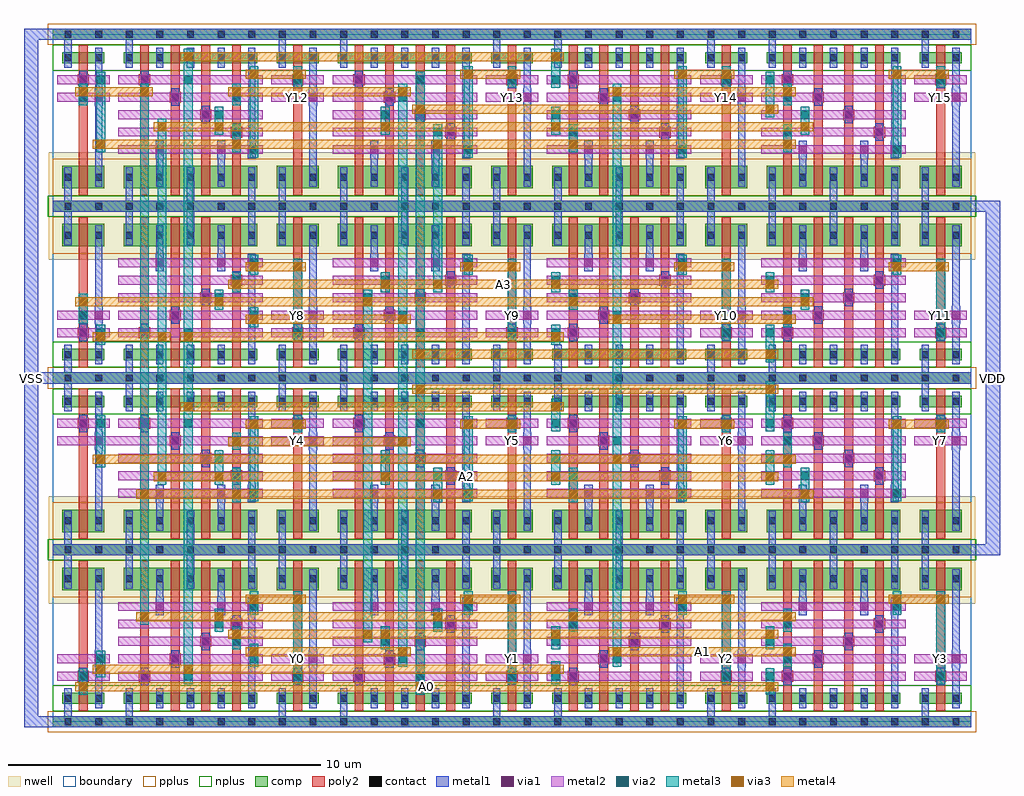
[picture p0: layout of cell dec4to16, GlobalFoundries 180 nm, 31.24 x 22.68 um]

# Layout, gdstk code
import gdstk
lib = gdstk.Library(unit=1e-6, precision=1e-09)
def R(c, l, rs):  # rectangles x0, y0, x1, y1
    for r in rs: c.add(gdstk.rectangle(r[:2], r[2:], *l))
def A(c, l, x, y, w, h, nx, ny, dx, dy):  # array of equal rectangles
    R(c, l, [(x+i*dx, y+j*dy, x+i*dx+w, y+j*dy+h) for i in range(nx) for j in range(ny)])
boundary = (0, 0)
nwell = (21, 0)
comp = (22, 0)
poly2 = (30, 0)
pplus = (31, 0)
nplus = (32, 0)
contact = (33, 0)
metal1 = (34, 0)
via1 = (35, 0)
metal2 = (36, 0)
via2 = (38, 0)
via3 = (40, 0)
metal3 = (42, 0)
metal4 = (46, 0)

inv = lib.new_cell('inv')
R(inv, boundary, [(0,0,1.96,5.5)])
R(inv, nwell, [(-0.12,3.78,2.08,5.8)])
R(inv, comp, [(0,-0.18,1.96,0.18), (0.31,0.57,1.65,0.93), (0.31,4.21,1.65,4.93), (0,5.32,1.96,5.68)])
R(inv, poly2, [(0.84,0.35,1.12,1.15), (0.84,1.15,1.12,3.99), (0.8,1.27,1.16,1.63), (0.84,3.99,1.12,5.15)])
R(inv, pplus, [(-0.16,-0.34,2.12,0.34), (0,3.98,1.96,5.16)])
R(inv, nplus, [(0,0.34,1.96,1.16), (-0.16,5.16,2.12,5.84)])
R(inv, contact, [(0.38,-0.11,0.6,0.11), (1.36,-0.11,1.58,0.11), (0.38,0.64,0.6,0.86), (1.36,0.64,1.58,0.86), (0.87,1.34,1.09,1.56), (0.38,4.46,0.6,4.68), (1.36,4.46,1.58,4.68), (0.38,5.39,0.6,5.61), (1.36,5.39,1.58,5.61)])
R(inv, metal1, [(0,-0.18,1.96,0.18), (0.375,0,0.605,0.435), (0.375,0.435,0.605,1.065), (1.355,0.435,1.585,1.065), (1.355,1.065,1.585,2.01), (0.85,1.17,1.11,1.73), (1.34,1.73,1.6,2.29), (1.34,1.73,1.6,2.29), (1.355,2.01,1.585,4.255), (0.375,4.255,0.605,4.885), (1.355,4.255,1.585,4.885), (0.375,4.885,0.605,5.5), (0,5.32,1.96,5.68)])
R(inv, via1, [(0.85,1.32,1.11,1.58), (1.34,1.88,1.6,2.14), (1.34,1.88,1.6,2.14)])
R(inv, metal2, [(0.14,1.31,1.82,1.59), (0.72,1.31,1.24,1.59), (0.14,1.87,1.82,2.15), (1.21,1.87,1.73,2.15), (1.21,1.87,1.73,2.15)])
inv.add(gdstk.Label('VSS', (0.98,0), layer=34, texttype=10))
inv.add(gdstk.Label('VDD', (0.98,5.5), layer=34, texttype=10))
inv.add(gdstk.Label('Y', (0.98,2.01), layer=36, texttype=10))
inv.add(gdstk.Label('A', (0.98,1.45), layer=36, texttype=10))

nand4 = lib.new_cell('nand4')
R(nand4, boundary, [(0,0,4.9,5.5)])
R(nand4, nwell, [(-0.12,3.78,5.02,5.8)])
R(nand4, comp, [(0,-0.18,4.9,0.18), (0.31,0.57,4.59,0.93), (0.31,4.21,4.59,4.93), (0,5.32,4.9,5.68)])
A(nand4, poly2, 0.84, 0.35, 0.28, 0.8, 4, 1, 0.98, 0)
A(nand4, poly2, 0.84, 1.15, 0.28, 2.84, 4, 1, 0.98, 0)
A(nand4, poly2, 0.84, 3.99, 0.28, 1.16, 4, 1, 0.98, 0)
R(nand4, poly2, [(0.8,1.27,1.16,1.63), (1.78,1.83,2.14,2.19), (2.76,2.39,3.12,2.75), (3.74,2.95,4.1,3.31)])
R(nand4, pplus, [(-0.16,-0.34,5.06,0.34), (0,3.98,4.9,5.16)])
R(nand4, nplus, [(0,0.34,4.9,1.16), (-0.16,5.16,5.06,5.84)])
A(nand4, contact, 0.38, -0.11, 0.22, 0.22, 5, 2, 0.98, 0.75)
A(nand4, contact, 0.38, 4.46, 0.22, 0.22, 5, 2, 0.98, 0.93)
R(nand4, contact, [(0.87,1.34,1.09,1.56), (1.85,1.9,2.07,2.12), (2.83,2.46,3.05,2.68), (3.81,3.02,4.03,3.24)])
A(nand4, metal1, 0.375, 0.435, 0.23, 0.63, 5, 2, 0.98, 3.82)
A(nand4, metal1, 0.375, 4.885, 0.23, 0.615, 3, 1, 1.96, 0)
R(nand4, metal1, [(0,-0.18,4.9,0.18), (0.375,0,0.605,0.435), (4.295,1.065,4.525,3.69), (0.85,1.17,1.11,1.73), (1.83,1.73,2.09,2.29), (2.81,2.29,3.07,2.85), (3.79,2.85,4.05,3.41), (1.34,3.41,1.6,3.97), (3.3,3.41,3.56,3.97), (4.28,3.41,4.54,3.97), (1.355,3.69,1.585,4.255), (3.315,3.69,3.545,4.255), (0,5.32,4.9,5.68)])
R(nand4, via1, [(0.85,1.32,1.11,1.58), (1.83,1.88,2.09,2.14), (2.81,2.44,3.07,2.7), (3.79,3,4.05,3.26), (1.34,3.56,1.6,3.82), (3.3,3.56,3.56,3.82), (4.28,3.56,4.54,3.82)])
A(nand4, metal2, 0.14, 1.31, 4.62, 0.28, 1, 5, 0, 0.56)
R(nand4, metal2, [(0.72,1.31,1.24,1.59), (1.7,1.87,2.22,2.15), (2.68,2.43,3.2,2.71), (3.66,2.99,4.18,3.27), (1.21,3.55,1.73,3.83), (3.17,3.55,3.69,3.83), (4.15,3.55,4.67,3.83)])
nand4.add(gdstk.Label('VSS', (2.45,0), layer=34, texttype=10))
nand4.add(gdstk.Label('VDD', (2.45,5.5), layer=34, texttype=10))
nand4.add(gdstk.Label('Y', (2.45,3.69), layer=36, texttype=10))
nand4.add(gdstk.Label('A', (2.45,1.45), layer=36, texttype=10))
nand4.add(gdstk.Label('B', (2.45,2.01), layer=36, texttype=10))
nand4.add(gdstk.Label('C', (2.45,2.57), layer=36, texttype=10))
nand4.add(gdstk.Label('D', (2.45,3.13), layer=36, texttype=10))

dec4to16 = lib.new_cell('dec4to16')
A(dec4to16, metal1, -0.92, -0.18, 0.92, 0.36, 1, 3, 0, 11)
R(dec4to16, metal1, [(-0.92,-0.18,-0.46,22.18), (29.4,5.32,30.32,5.68), (29.86,5.32,30.32,16.68), (29.4,16.32,30.32,16.68)])
A(dec4to16, metal2, 6.18, 3.55, 0.52, 0.28, 4, 2, 6.86, 3.62)
A(dec4to16, metal2, 6.18, 14.55, 0.52, 0.28, 4, 2, 6.86, 3.62)
R(dec4to16, metal2, [(0.72,1.31,1.24,1.59), (4.08,1.31,4.6,1.59), (7.58,1.31,8.1,1.59), (11.5,1.31,12.02,1.59), (14.44,1.31,14.96,1.59), (15.84,1.31,16.36,1.59), (21.3,1.31,21.82,1.59), (22.7,1.31,23.22,1.59), (28.16,1.31,28.68,1.59), (1.28,1.87,1.8,2.15), (6.18,1.87,6.7,2.15), (10.94,1.87,11.46,2.15), (17.8,1.87,18.32,2.15), (23.26,1.87,23.78,2.15), (5.62,2.43,6.14,2.71), (10.38,2.43,10.9,2.71), (15.84,2.43,16.36,2.71), (22.7,2.43,23.22,2.71), (5.06,2.99,5.58,3.27), (12.06,2.99,12.58,3.27), (16.4,2.99,16.92,3.27), (23.26,2.99,23.78,3.27), (5.62,7.73,6.14,8.01), (12.06,7.73,12.58,8.01), (16.4,7.73,16.92,8.01), (23.82,7.73,24.34,8.01), (5.06,8.29,5.58,8.57), (10.38,8.29,10.9,8.57), (15.84,8.29,16.36,8.57), (22.7,8.29,23.22,8.57), (1.82,8.85,2.1,9.13), (5.62,8.85,6.14,9.13), (10.94,8.85,11.46,9.13), (17.8,8.85,18.32,9.13), (23.26,8.85,23.78,9.13), (1.28,9.41,1.8,9.69), (4.08,9.41,4.6,9.69), (7.58,9.41,8.1,9.69), (11.5,9.41,12.02,9.69), (14.44,9.41,14.96,9.69), (15.84,9.41,16.36,9.69), (21.3,9.41,21.82,9.69), (22.7,9.41,23.22,9.69), (28.16,9.41,28.68,9.69), (1.28,12.31,1.8,12.59), (4.08,12.31,4.6,12.59), (7.58,12.31,8.1,12.59), (11.5,12.31,12.02,12.59), (14.44,12.31,14.96,12.59), (15.84,12.31,16.36,12.59), (21.3,12.31,21.82,12.59), (22.7,12.31,23.22,12.59), (28.16,12.31,28.68,12.59), (0.72,12.87,1.24,13.15), (6.18,12.87,6.7,13.15), (10.94,12.87,11.46,13.15), (17.8,12.87,18.32,13.15), (23.26,12.87,23.78,13.15), (5.06,13.43,5.58,13.71), (9.82,13.43,10.34,13.71), (16.4,13.43,16.92,13.71), (23.82,13.43,24.34,13.71), (5.62,13.99,6.14,14.27), (10.38,13.99,10.9,14.27), (15.84,13.99,16.36,14.27), (22.7,13.99,23.22,14.27), (5.62,18.73,6.14,19.01), (12.06,18.73,12.58,19.01), (16.4,18.73,16.92,19.01), (23.26,18.73,23.78,19.01), (5.06,19.29,5.58,19.57), (10.38,19.29,10.9,19.57), (15.84,19.29,16.36,19.57), (23.82,19.29,24.34,19.57), (0.72,19.85,1.24,20.13), (5.62,19.85,6.14,20.13), (10.94,19.85,11.46,20.13), (17.8,19.85,18.32,20.13), (23.26,19.85,23.78,20.13), (1.28,20.41,1.8,20.69), (4.08,20.41,4.6,20.69), (7.58,20.41,8.1,20.69), (11.5,20.41,12.02,20.69), (14.44,20.41,14.96,20.69), (15.84,20.41,16.36,20.69), (21.3,20.41,21.82,20.69), (22.7,20.41,23.22,20.69), (28.16,20.41,28.68,20.69)])
A(dec4to16, via2, 6.31, 3.56, 0.26, 0.26, 4, 2, 6.86, 3.62)
A(dec4to16, via2, 6.31, 14.56, 0.26, 0.26, 4, 2, 6.86, 3.62)
R(dec4to16, via2, [(0.85,1.32,1.11,1.58), (4.21,1.32,4.47,1.58), (7.71,1.32,7.97,1.58), (11.63,1.32,11.89,1.58), (14.57,1.32,14.83,1.58), (15.97,1.32,16.23,1.58), (21.43,1.32,21.69,1.58), (22.83,1.32,23.09,1.58), (28.29,1.32,28.55,1.58), (1.41,1.88,1.67,2.14), (6.31,1.88,6.57,2.14), (11.07,1.88,11.33,2.14), (17.93,1.88,18.19,2.14), (23.39,1.88,23.65,2.14), (5.75,2.44,6.01,2.7), (10.51,2.44,10.77,2.7), (15.97,2.44,16.23,2.7), (22.83,2.44,23.09,2.7), (5.19,3,5.45,3.26), (12.19,3,12.45,3.26), (16.53,3,16.79,3.26), (23.39,3,23.65,3.26), (5.75,7.74,6.01,8), (12.19,7.74,12.45,8), (16.53,7.74,16.79,8), (23.95,7.74,24.21,8), (5.19,8.3,5.45,8.56), (10.51,8.3,10.77,8.56), (15.97,8.3,16.23,8.56), (22.83,8.3,23.09,8.56), (5.75,8.86,6.01,9.12), (11.07,8.86,11.33,9.12), (17.93,8.86,18.19,9.12), (23.39,8.86,23.65,9.12), (1.41,9.42,1.67,9.68), (4.21,9.42,4.47,9.68), (7.71,9.42,7.97,9.68), (11.63,9.42,11.89,9.68), (14.57,9.42,14.83,9.68), (15.97,9.42,16.23,9.68), (21.43,9.42,21.69,9.68), (22.83,9.42,23.09,9.68), (28.29,9.42,28.55,9.68), (1.41,12.32,1.67,12.58), (4.21,12.32,4.47,12.58), (7.71,12.32,7.97,12.58), (11.63,12.32,11.89,12.58), (14.57,12.32,14.83,12.58), (15.97,12.32,16.23,12.58), (21.43,12.32,21.69,12.58), (22.83,12.32,23.09,12.58), (28.29,12.32,28.55,12.58), (0.85,12.88,1.11,13.14), (6.31,12.88,6.57,13.14), (11.07,12.88,11.33,13.14), (17.93,12.88,18.19,13.14), (23.39,12.88,23.65,13.14), (5.19,13.44,5.45,13.7), (9.95,13.44,10.21,13.7), (16.53,13.44,16.79,13.7), (23.95,13.44,24.21,13.7), (5.75,14,6.01,14.26), (10.51,14,10.77,14.26), (15.97,14,16.23,14.26), (22.83,14,23.09,14.26), (5.75,18.74,6.01,19), (12.19,18.74,12.45,19), (16.53,18.74,16.79,19), (23.39,18.74,23.65,19), (5.19,19.3,5.45,19.56), (10.51,19.3,10.77,19.56), (15.97,19.3,16.23,19.56), (23.95,19.3,24.21,19.56), (0.85,19.86,1.11,20.12), (5.75,19.86,6.01,20.12), (11.07,19.86,11.33,20.12), (17.93,19.86,18.19,20.12), (23.39,19.86,23.65,20.12), (1.41,20.42,1.67,20.68), (4.21,20.42,4.47,20.68), (7.71,20.42,7.97,20.68), (11.63,20.42,11.89,20.68), (14.57,20.42,14.83,20.68), (15.97,20.42,16.23,20.68), (21.43,20.42,21.69,20.68), (22.83,20.42,23.09,20.68), (28.29,20.42,28.55,20.68)])
A(dec4to16, via3, 5.19, 7.71, 0.26, 0.26, 1, 3, 0, 5.6)
A(dec4to16, via3, 15.97, 7.71, 0.26, 0.26, 1, 3, 0, 2.24)
R(dec4to16, via3, [(0.85,0.99,1.11,1.25), (11.63,0.99,11.89,1.25), (11.63,0.99,11.89,1.25), (22.83,0.99,23.09,1.25), (1.41,1.55,1.67,1.81), (4.21,1.55,4.47,1.81), (4.21,1.55,4.47,1.81), (15.97,1.55,16.23,1.81), (6.31,2.11,6.57,2.37), (11.07,2.11,11.33,2.37), (11.07,2.11,11.33,2.37), (17.93,2.11,18.19,2.37), (17.93,2.11,18.19,2.37), (23.39,2.11,23.65,2.37), (5.75,2.67,6.01,2.93), (9.95,2.67,10.21,2.93), (10.51,2.67,10.77,2.93), (15.97,2.67,16.23,2.93), (22.83,2.67,23.09,2.93), (2.81,3.23,3.07,3.49), (5.19,3.23,5.45,3.49), (12.19,3.23,12.45,3.49), (16.53,3.23,16.79,3.49), (23.39,3.23,23.65,3.49), (6.31,3.79,6.57,4.05), (7.71,3.79,7.97,4.05), (13.17,3.79,13.43,4.05), (14.57,3.79,14.83,4.05), (20.03,3.79,20.29,4.05), (21.43,3.79,21.69,4.05), (26.89,3.79,27.15,4.05), (28.29,3.79,28.55,4.05), (2.81,7.15,3.07,7.41), (5.75,7.15,6.01,7.41), (12.19,7.15,12.45,7.41), (16.53,7.15,16.79,7.41), (23.95,7.15,24.21,7.41), (3.37,7.71,3.63,7.97), (10.51,7.71,10.77,7.97), (22.83,7.71,23.09,7.97), (1.41,8.27,1.67,8.53), (17.93,8.27,18.19,8.53), (17.93,8.27,18.19,8.53), (23.39,8.27,23.65,8.53), (5.75,8.83,6.01,9.09), (11.07,8.83,11.33,9.09), (11.07,8.83,11.33,9.09), (6.31,9.39,6.57,9.65), (7.71,9.39,7.97,9.65), (13.17,9.39,13.43,9.65), (14.57,9.39,14.83,9.65), (20.03,9.39,20.29,9.65), (21.43,9.39,21.69,9.65), (26.89,9.39,27.15,9.65), (28.29,9.39,28.55,9.65), (4.21,9.95,4.47,10.21), (4.21,9.95,4.47,10.21), (11.63,10.51,11.89,10.77), (11.63,10.51,11.89,10.77), (22.83,10.51,23.09,10.77), (11.63,11.63,11.89,11.89), (11.63,11.63,11.89,11.89), (22.83,11.63,23.09,11.89), (1.41,12.19,1.67,12.45), (3.37,12.19,3.63,12.45), (4.21,12.19,4.47,12.45), (4.21,12.19,4.47,12.45), (6.31,12.75,6.57,13.01), (11.07,12.75,11.33,13.01), (11.07,12.75,11.33,13.01), (17.93,12.75,18.19,13.01), (17.93,12.75,18.19,13.01), (23.39,12.75,23.65,13.01), (0.85,13.31,1.11,13.57), (9.95,13.31,10.21,13.57), (9.95,13.31,10.21,13.57), (16.53,13.31,16.79,13.57), (23.95,13.31,24.21,13.57), (5.75,13.87,6.01,14.13), (10.51,13.87,10.77,14.13), (12.19,13.87,12.45,14.13), (15.97,13.87,16.23,14.13), (22.83,13.87,23.09,14.13), (6.31,14.43,6.57,14.69), (7.71,14.43,7.97,14.69), (13.17,14.43,13.43,14.69), (14.57,14.43,14.83,14.69), (20.03,14.43,20.29,14.69), (21.43,14.43,21.69,14.69), (26.89,14.43,27.15,14.69), (28.29,14.43,28.55,14.69), (1.41,18.35,1.67,18.61), (5.75,18.35,6.01,18.61), (12.19,18.35,12.45,18.61), (12.19,18.35,12.45,18.61), (16.53,18.35,16.79,18.61), (23.39,18.35,23.65,18.61), (3.37,18.91,3.63,19.17), (10.51,18.91,10.77,19.17), (15.97,18.91,16.23,19.17), (23.95,18.91,24.21,19.17), (11.63,19.47,11.89,19.73), (11.63,19.47,11.89,19.73), (22.83,19.47,23.09,19.73), (0.85,20.03,1.11,20.29), (2.81,20.03,3.07,20.29), (5.75,20.03,6.01,20.29), (11.07,20.03,11.33,20.29), (11.07,20.03,11.33,20.29), (17.93,20.03,18.19,20.29), (17.93,20.03,18.19,20.29), (23.39,20.03,23.65,20.29), (6.31,20.59,6.57,20.85), (7.71,20.59,7.97,20.85), (13.17,20.59,13.43,20.85), (14.57,20.59,14.83,20.85), (20.03,20.59,20.29,20.85), (21.43,20.59,21.69,20.85), (26.89,20.59,27.15,20.85), (28.29,20.59,28.55,20.85), (4.21,21.15,4.47,21.41), (4.21,21.15,4.47,21.41), (15.97,21.15,16.23,21.41)])
A(dec4to16, metal3, 7.7, 1.45, 0.28, 2.47, 4, 1, 6.86, 0)
A(dec4to16, metal3, 6.3, 3.43, 0.28, 0.52, 4, 2, 6.86, 3.62)
A(dec4to16, metal3, 6.3, 3.69, 0.28, 0.23, 4, 1, 6.86, 0)
A(dec4to16, metal3, 6.3, 7.31, 0.28, 2.21, 4, 1, 6.86, 0)
A(dec4to16, metal3, 7.7, 9.52, 0.28, 0.03, 4, 1, 6.86, 0)
A(dec4to16, metal3, 7.7, 12.45, 0.28, 2.11, 4, 1, 6.86, 0)
A(dec4to16, metal3, 6.3, 14.43, 0.28, 0.52, 4, 2, 6.86, 3.62)
A(dec4to16, metal3, 6.3, 14.56, 0.28, 0.13, 4, 1, 6.86, 0)
A(dec4to16, metal3, 6.3, 18.31, 0.28, 2.41, 4, 1, 6.86, 0)
A(dec4to16, metal3, 7.7, 20.55, 0.28, 0.17, 4, 1, 6.86, 0)
R(dec4to16, metal3, [(0.84,0.86,1.12,1.38), (11.62,0.86,11.9,1.38), (11.62,0.86,11.9,1.38), (22.82,0.86,23.1,1.38), (0.84,1.12,1.12,1.45), (11.62,1.12,11.9,19.6), (11.62,1.12,11.9,1.45), (22.82,1.12,23.1,1.45), (0.84,1.19,1.12,1.71), (4.2,1.19,4.48,1.71), (7.7,1.19,7.98,1.71), (11.62,1.19,11.9,1.71), (14.56,1.19,14.84,1.71), (15.96,1.19,16.24,1.71), (21.42,1.19,21.7,1.71), (22.82,1.19,23.1,1.71), (28.28,1.19,28.56,1.71), (1.4,1.42,1.68,1.94), (4.2,1.42,4.48,1.94), (4.2,1.42,4.48,1.94), (15.96,1.42,16.24,1.94), (4.2,1.45,4.48,1.68), (15.96,1.45,16.24,1.68), (1.4,1.68,1.68,2.01), (4.2,1.68,4.48,21.28), (1.4,1.75,1.68,2.27), (6.3,1.75,6.58,2.27), (11.06,1.75,11.34,2.27), (17.92,1.75,18.2,2.27), (23.38,1.75,23.66,2.27), (6.3,1.98,6.58,2.5), (11.06,1.98,11.34,2.5), (11.06,1.98,11.34,2.5), (17.92,1.98,18.2,2.5), (17.92,1.98,18.2,2.5), (23.38,1.98,23.66,2.5), (6.3,2.01,6.58,2.24), (11.06,2.01,11.34,2.24), (17.92,2.01,18.2,2.24), (23.38,2.01,23.66,2.24), (11.06,2.24,11.34,20.16), (17.92,2.24,18.2,20.16), (5.74,2.31,6.02,2.83), (10.5,2.31,10.78,2.83), (15.96,2.31,16.24,2.83), (22.82,2.31,23.1,2.83), (5.74,2.54,6.02,3.06), (9.94,2.54,10.22,3.06), (10.5,2.54,10.78,3.06), (15.96,2.54,16.24,3.06), (22.82,2.54,23.1,3.06), (5.74,2.57,6.02,2.8), (10.5,2.57,10.78,2.8), (15.96,2.57,16.24,2.8), (22.82,2.57,23.1,2.8), (9.94,2.8,10.22,13.44), (5.18,2.87,5.46,3.39), (12.18,2.87,12.46,3.39), (16.52,2.87,16.8,3.39), (23.38,2.87,23.66,3.39), (2.8,3.1,3.08,3.62), (5.18,3.1,5.46,3.62), (12.18,3.1,12.46,3.62), (16.52,3.1,16.8,3.62), (23.38,3.1,23.66,3.62), (5.18,3.13,5.46,3.36), (12.18,3.13,12.46,3.36), (16.52,3.13,16.8,3.36), (23.38,3.13,23.66,3.36), (2.8,3.36,3.08,20.16), (6.3,3.66,6.58,4.18), (7.7,3.66,7.98,4.18), (13.16,3.66,13.44,4.18), (14.56,3.66,14.84,4.18), (20.02,3.66,20.3,4.18), (21.42,3.66,21.7,4.18), (26.88,3.66,27.16,4.18), (28.28,3.66,28.56,4.18), (2.8,7.02,3.08,7.54), (5.74,7.02,6.02,7.54), (12.18,7.02,12.46,7.54), (16.52,7.02,16.8,7.54), (23.94,7.02,24.22,7.54), (5.74,7.28,6.02,7.87), (12.18,7.28,12.46,7.87), (16.52,7.28,16.8,7.87), (23.94,7.28,24.22,7.87), (3.36,7.58,3.64,8.1), (5.18,7.58,5.46,8.1), (10.5,7.58,10.78,8.1), (15.96,7.58,16.24,8.1), (22.82,7.58,23.1,8.1), (5.74,7.61,6.02,8.13), (12.18,7.61,12.46,8.13), (16.52,7.61,16.8,8.13), (23.94,7.61,24.22,8.13), (3.36,7.84,3.64,19.04), (5.18,7.84,5.46,8.43), (10.5,7.84,10.78,8.43), (15.96,7.84,16.24,8.43), (22.82,7.84,23.1,8.43), (1.4,8.14,1.68,8.66), (17.92,8.14,18.2,8.66), (17.92,8.14,18.2,8.66), (23.38,8.14,23.66,8.66), (5.18,8.17,5.46,8.69), (10.5,8.17,10.78,8.69), (15.96,8.17,16.24,8.69), (22.82,8.17,23.1,8.69), (1.4,8.4,1.68,9.55), (17.92,8.4,18.2,8.99), (23.38,8.4,23.66,8.99), (5.74,8.7,6.02,9.22), (11.06,8.7,11.34,9.22), (11.06,8.7,11.34,9.22), (5.74,8.73,6.02,9.25), (11.06,8.73,11.34,9.25), (17.92,8.73,18.2,9.25), (23.38,8.73,23.66,9.25), (5.74,8.96,6.02,8.99), (11.06,8.96,11.34,8.99), (6.3,9.26,6.58,9.78), (7.7,9.26,7.98,9.78), (13.16,9.26,13.44,9.78), (14.56,9.26,14.84,9.78), (20.02,9.26,20.3,9.78), (21.42,9.26,21.7,9.78), (26.88,9.26,27.16,9.78), (28.28,9.26,28.56,9.78), (1.4,9.29,1.68,9.81), (4.2,9.29,4.48,9.81), (7.7,9.29,7.98,9.81), (11.62,9.29,11.9,9.81), (14.56,9.29,14.84,9.81), (15.96,9.29,16.24,9.81), (21.42,9.29,21.7,9.81), (22.82,9.29,23.1,9.81), (28.28,9.29,28.56,9.81), (4.2,9.55,4.48,10.08), (11.62,9.55,11.9,10.64), (15.96,9.55,16.24,10.08), (22.82,9.55,23.1,10.64), (4.2,9.82,4.48,10.34), (4.2,9.82,4.48,10.34), (15.96,9.82,16.24,10.34), (11.62,10.38,11.9,10.9), (11.62,10.38,11.9,10.9), (22.82,10.38,23.1,10.9), (11.62,11.5,11.9,12.02), (11.62,11.5,11.9,12.02), (22.82,11.5,23.1,12.02), (11.62,11.76,11.9,12.45), (22.82,11.76,23.1,12.45), (1.4,12.06,1.68,12.58), (3.36,12.06,3.64,12.58), (4.2,12.06,4.48,12.58), (4.2,12.06,4.48,12.58), (15.96,12.06,16.24,12.58), (1.4,12.19,1.68,12.71), (4.2,12.19,4.48,12.71), (7.7,12.19,7.98,12.71), (11.62,12.19,11.9,12.71), (14.56,12.19,14.84,12.71), (15.96,12.19,16.24,12.71), (21.42,12.19,21.7,12.71), (22.82,12.19,23.1,12.71), (28.28,12.19,28.56,12.71), (1.4,12.32,1.68,12.45), (4.2,12.32,4.48,12.45), (15.96,12.32,16.24,12.45), (6.3,12.62,6.58,13.14), (11.06,12.62,11.34,13.14), (11.06,12.62,11.34,13.14), (17.92,12.62,18.2,13.14), (17.92,12.62,18.2,13.14), (23.38,12.62,23.66,13.14), (0.84,12.75,1.12,13.27), (6.3,12.75,6.58,13.27), (11.06,12.75,11.34,13.27), (17.92,12.75,18.2,13.27), (23.38,12.75,23.66,13.27), (6.3,12.88,6.58,13.01), (11.06,12.88,11.34,13.01), (17.92,12.88,18.2,13.01), (23.38,12.88,23.66,13.01), (0.84,13.01,1.12,13.44), (0.84,13.18,1.12,13.7), (5.18,13.18,5.46,13.7), (9.94,13.18,10.22,13.7), (9.94,13.18,10.22,13.7), (16.52,13.18,16.8,13.7), (23.94,13.18,24.22,13.7), (5.18,13.31,5.46,13.83), (9.94,13.31,10.22,13.83), (16.52,13.31,16.8,13.83), (23.94,13.31,24.22,13.83), (5.18,13.44,5.46,13.57), (9.94,13.44,10.22,13.57), (16.52,13.44,16.8,13.57), (23.94,13.44,24.22,13.57), (5.74,13.74,6.02,14.26), (10.5,13.74,10.78,14.26), (12.18,13.74,12.46,14.26), (15.96,13.74,16.24,14.26), (22.82,13.74,23.1,14.26), (5.74,13.87,6.02,14.39), (10.5,13.87,10.78,14.39), (15.96,13.87,16.24,14.39), (22.82,13.87,23.1,14.39), (5.74,14,6.02,14.13), (10.5,14,10.78,14.13), (12.18,14,12.46,18.48), (15.96,14,16.24,14.13), (22.82,14,23.1,14.13), (6.3,14.3,6.58,14.82), (7.7,14.3,7.98,14.82), (13.16,14.3,13.44,14.82), (14.56,14.3,14.84,14.82), (20.02,14.3,20.3,14.82), (21.42,14.3,21.7,14.82), (26.88,14.3,27.16,14.82), (28.28,14.3,28.56,14.82), (1.4,18.22,1.68,18.74), (5.74,18.22,6.02,18.74), (12.18,18.22,12.46,18.74), (12.18,18.22,12.46,18.74), (16.52,18.22,16.8,18.74), (23.38,18.22,23.66,18.74), (1.4,18.48,1.68,20.55), (5.74,18.48,6.02,18.87), (12.18,18.48,12.46,18.87), (16.52,18.48,16.8,18.87), (23.38,18.48,23.66,18.87), (5.74,18.61,6.02,19.13), (12.18,18.61,12.46,19.13), (16.52,18.61,16.8,19.13), (23.38,18.61,23.66,19.13), (3.36,18.78,3.64,19.3), (5.18,18.78,5.46,19.3), (10.5,18.78,10.78,19.3), (15.96,18.78,16.24,19.3), (23.94,18.78,24.22,19.3), (5.18,19.04,5.46,19.43), (10.5,19.04,10.78,19.43), (15.96,19.04,16.24,19.43), (23.94,19.04,24.22,19.43), (5.18,19.17,5.46,19.69), (10.5,19.17,10.78,19.69), (15.96,19.17,16.24,19.69), (23.94,19.17,24.22,19.69), (11.62,19.34,11.9,19.86), (11.62,19.34,11.9,19.86), (22.82,19.34,23.1,19.86), (11.62,19.6,11.9,20.55), (22.82,19.6,23.1,20.55), (0.84,19.73,1.12,20.25), (5.74,19.73,6.02,20.25), (11.06,19.73,11.34,20.25), (17.92,19.73,18.2,20.25), (23.38,19.73,23.66,20.25), (0.84,19.9,1.12,20.42), (2.8,19.9,3.08,20.42), (5.74,19.9,6.02,20.42), (11.06,19.9,11.34,20.42), (11.06,19.9,11.34,20.42), (17.92,19.9,18.2,20.42), (17.92,19.9,18.2,20.42), (23.38,19.9,23.66,20.42), (0.84,19.99,1.12,20.16), (5.74,19.99,6.02,20.16), (11.06,19.99,11.34,20.16), (17.92,19.99,18.2,20.16), (23.38,19.99,23.66,20.16), (1.4,20.29,1.68,20.81), (4.2,20.29,4.48,20.81), (7.7,20.29,7.98,20.81), (11.62,20.29,11.9,20.81), (14.56,20.29,14.84,20.81), (15.96,20.29,16.24,20.81), (21.42,20.29,21.7,20.81), (22.82,20.29,23.1,20.81), (28.28,20.29,28.56,20.81), (6.3,20.46,6.58,20.98), (7.7,20.46,7.98,20.98), (13.16,20.46,13.44,20.98), (14.56,20.46,14.84,20.98), (20.02,20.46,20.3,20.98), (21.42,20.46,21.7,20.98), (26.88,20.46,27.16,20.98), (28.28,20.46,28.56,20.98), (4.2,20.55,4.48,21.28), (15.96,20.55,16.24,21.28), (4.2,21.02,4.48,21.54), (4.2,21.02,4.48,21.54), (15.96,21.02,16.24,21.54)])
A(dec4to16, metal4, 6.44, 3.78, 1.4, 0.28, 4, 2, 6.86, 5.6)
A(dec4to16, metal4, 5.06, 7.7, 0.52, 0.28, 1, 3, 0, 5.6)
A(dec4to16, metal4, 15.84, 7.7, 0.52, 0.28, 1, 3, 0, 2.24)
A(dec4to16, metal4, 6.44, 14.42, 1.4, 0.28, 4, 2, 6.86, 6.16)
R(dec4to16, metal4, [(0.72,0.98,1.24,1.26), (0.98,0.98,22.96,1.26), (11.5,0.98,12.02,1.26), (11.5,0.98,12.02,1.26), (22.7,0.98,23.22,1.26), (1.28,1.54,1.8,1.82), (1.54,1.54,16.1,1.82), (4.08,1.54,4.6,1.82), (4.08,1.54,4.6,1.82), (15.84,1.54,16.36,1.82), (6.18,2.1,6.7,2.38), (6.44,2.1,11.2,2.38), (10.94,2.1,11.46,2.38), (10.94,2.1,11.46,2.38), (17.8,2.1,18.32,2.38), (17.8,2.1,18.32,2.38), (18.06,2.1,23.52,2.38), (23.26,2.1,23.78,2.38), (5.62,2.66,6.14,2.94), (5.88,2.66,22.96,2.94), (9.82,2.66,10.34,2.94), (10.38,2.66,10.9,2.94), (15.84,2.66,16.36,2.94), (22.7,2.66,23.22,2.94), (2.68,3.22,3.2,3.5), (2.94,3.22,23.52,3.5), (5.06,3.22,5.58,3.5), (12.06,3.22,12.58,3.5), (16.4,3.22,16.92,3.5), (23.26,3.22,23.78,3.5), (6.18,3.78,6.7,4.06), (7.58,3.78,8.1,4.06), (13.04,3.78,13.56,4.06), (14.44,3.78,14.96,4.06), (19.9,3.78,20.42,4.06), (21.3,3.78,21.82,4.06), (26.76,3.78,27.28,4.06), (28.16,3.78,28.68,4.06), (2.68,7.14,3.2,7.42), (2.94,7.14,24.08,7.42), (5.62,7.14,6.14,7.42), (12.06,7.14,12.58,7.42), (16.4,7.14,16.92,7.42), (23.82,7.14,24.34,7.42), (3.24,7.7,3.76,7.98), (3.5,7.7,22.96,7.98), (10.38,7.7,10.9,7.98), (22.7,7.7,23.22,7.98), (1.28,8.26,1.8,8.54), (1.54,8.26,23.52,8.54), (17.8,8.26,18.32,8.54), (17.8,8.26,18.32,8.54), (23.26,8.26,23.78,8.54), (5.62,8.82,6.14,9.1), (5.88,8.82,11.2,9.1), (10.94,8.82,11.46,9.1), (10.94,8.82,11.46,9.1), (6.18,9.38,6.7,9.66), (7.58,9.38,8.1,9.66), (13.04,9.38,13.56,9.66), (14.44,9.38,14.96,9.66), (19.9,9.38,20.42,9.66), (21.3,9.38,21.82,9.66), (26.76,9.38,27.28,9.66), (28.16,9.38,28.68,9.66), (4.08,9.94,4.6,10.22), (4.08,9.94,4.6,10.22), (4.34,9.94,16.1,10.22), (11.5,10.5,12.02,10.78), (11.5,10.5,12.02,10.78), (11.76,10.5,22.96,10.78), (22.7,10.5,23.22,10.78), (11.5,11.62,12.02,11.9), (11.5,11.62,12.02,11.9), (11.76,11.62,22.96,11.9), (22.7,11.62,23.22,11.9), (1.28,12.18,1.8,12.46), (1.54,12.18,3.5,12.46), (3.24,12.18,3.76,12.46), (4.08,12.18,4.6,12.46), (4.08,12.18,4.6,12.46), (4.34,12.18,16.1,12.46), (6.18,12.74,6.7,13.02), (6.44,12.74,11.2,13.02), (10.94,12.74,11.46,13.02), (10.94,12.74,11.46,13.02), (17.8,12.74,18.32,13.02), (17.8,12.74,18.32,13.02), (18.06,12.74,23.52,13.02), (23.26,12.74,23.78,13.02), (0.72,13.3,1.24,13.58), (0.98,13.3,24.08,13.58), (9.82,13.3,10.34,13.58), (9.82,13.3,10.34,13.58), (16.4,13.3,16.92,13.58), (23.82,13.3,24.34,13.58), (5.62,13.86,6.14,14.14), (5.88,13.86,22.96,14.14), (10.38,13.86,10.9,14.14), (12.06,13.86,12.58,14.14), (15.84,13.86,16.36,14.14), (22.7,13.86,23.22,14.14), (6.18,14.42,6.7,14.7), (7.58,14.42,8.1,14.7), (13.04,14.42,13.56,14.7), (14.44,14.42,14.96,14.7), (19.9,14.42,20.42,14.7), (21.3,14.42,21.82,14.7), (26.76,14.42,27.28,14.7), (28.16,14.42,28.68,14.7), (1.28,18.34,1.8,18.62), (1.54,18.34,23.52,18.62), (5.62,18.34,6.14,18.62), (12.06,18.34,12.58,18.62), (12.06,18.34,12.58,18.62), (16.4,18.34,16.92,18.62), (23.26,18.34,23.78,18.62), (3.24,18.9,3.76,19.18), (3.5,18.9,24.08,19.18), (10.38,18.9,10.9,19.18), (15.84,18.9,16.36,19.18), (23.82,18.9,24.34,19.18), (11.5,19.46,12.02,19.74), (11.5,19.46,12.02,19.74), (11.76,19.46,22.96,19.74), (22.7,19.46,23.22,19.74), (0.72,20.02,1.24,20.3), (0.98,20.02,2.94,20.3), (2.68,20.02,3.2,20.3), (5.62,20.02,6.14,20.3), (5.88,20.02,11.2,20.3), (10.94,20.02,11.46,20.3), (10.94,20.02,11.46,20.3), (17.8,20.02,18.32,20.3), (17.8,20.02,18.32,20.3), (18.06,20.02,23.52,20.3), (23.26,20.02,23.78,20.3), (6.18,20.58,6.7,20.86), (7.58,20.58,8.1,20.86), (13.04,20.58,13.56,20.86), (14.44,20.58,14.96,20.86), (19.9,20.58,20.42,20.86), (21.3,20.58,21.82,20.86), (26.76,20.58,27.28,20.86), (28.16,20.58,28.68,20.86), (4.08,21.14,4.6,21.42), (4.08,21.14,4.6,21.42), (4.34,21.14,16.1,21.42), (15.84,21.14,16.36,21.42)])
dec4to16.add(gdstk.Reference(inv, (0,0)))
dec4to16.add(gdstk.Reference(nand4, (1.96,0)))
dec4to16.add(gdstk.Reference(inv, (6.86,0)))
dec4to16.add(gdstk.Reference(nand4, (8.82,0)))
dec4to16.add(gdstk.Reference(inv, (13.72,0)))
dec4to16.add(gdstk.Reference(nand4, (15.68,0)))
dec4to16.add(gdstk.Reference(inv, (20.58,0)))
dec4to16.add(gdstk.Reference(nand4, (22.54,0)))
dec4to16.add(gdstk.Reference(inv, (27.44,0)))
dec4to16.add(gdstk.Reference(inv, (0,11), x_reflection=True))
dec4to16.add(gdstk.Reference(nand4, (1.96,11), x_reflection=True))
dec4to16.add(gdstk.Reference(inv, (6.86,11), x_reflection=True))
dec4to16.add(gdstk.Reference(nand4, (8.82,11), x_reflection=True))
dec4to16.add(gdstk.Reference(inv, (13.72,11), x_reflection=True))
dec4to16.add(gdstk.Reference(nand4, (15.68,11), x_reflection=True))
dec4to16.add(gdstk.Reference(inv, (20.58,11), x_reflection=True))
dec4to16.add(gdstk.Reference(nand4, (22.54,11), x_reflection=True))
dec4to16.add(gdstk.Reference(inv, (27.44,11), x_reflection=True))
dec4to16.add(gdstk.Reference(inv, (0,11)))
dec4to16.add(gdstk.Reference(nand4, (1.96,11)))
dec4to16.add(gdstk.Reference(inv, (6.86,11)))
dec4to16.add(gdstk.Reference(nand4, (8.82,11)))
dec4to16.add(gdstk.Reference(inv, (13.72,11)))
dec4to16.add(gdstk.Reference(nand4, (15.68,11)))
dec4to16.add(gdstk.Reference(inv, (20.58,11)))
dec4to16.add(gdstk.Reference(nand4, (22.54,11)))
dec4to16.add(gdstk.Reference(inv, (27.44,11)))
dec4to16.add(gdstk.Reference(inv, (0,22), x_reflection=True))
dec4to16.add(gdstk.Reference(nand4, (1.96,22), x_reflection=True))
dec4to16.add(gdstk.Reference(inv, (6.86,22), x_reflection=True))
dec4to16.add(gdstk.Reference(nand4, (8.82,22), x_reflection=True))
dec4to16.add(gdstk.Reference(inv, (13.72,22), x_reflection=True))
dec4to16.add(gdstk.Reference(nand4, (15.68,22), x_reflection=True))
dec4to16.add(gdstk.Reference(inv, (20.58,22), x_reflection=True))
dec4to16.add(gdstk.Reference(nand4, (22.54,22), x_reflection=True))
dec4to16.add(gdstk.Reference(inv, (27.44,22), x_reflection=True))
dec4to16.add(gdstk.Label('VSS', (-0.69,11), layer=34, texttype=10))
dec4to16.add(gdstk.Label('VDD', (30.09,11), layer=34, texttype=10))
dec4to16.add(gdstk.Label('Y0', (7.84,2.01), layer=36, texttype=10))
dec4to16.add(gdstk.Label('Y1', (14.7,2.01), layer=36, texttype=10))
dec4to16.add(gdstk.Label('Y10', (21.56,13.01), layer=36, texttype=10))
dec4to16.add(gdstk.Label('Y11', (28.42,13.01), layer=36, texttype=10))
dec4to16.add(gdstk.Label('Y12', (7.84,19.99), layer=36, texttype=10))
dec4to16.add(gdstk.Label('Y13', (14.7,19.99), layer=36, texttype=10))
dec4to16.add(gdstk.Label('Y14', (21.56,19.99), layer=36, texttype=10))
dec4to16.add(gdstk.Label('Y15', (28.42,19.99), layer=36, texttype=10))
dec4to16.add(gdstk.Label('Y2', (21.56,2.01), layer=36, texttype=10))
dec4to16.add(gdstk.Label('Y3', (28.42,2.01), layer=36, texttype=10))
dec4to16.add(gdstk.Label('Y4', (7.84,8.99), layer=36, texttype=10))
dec4to16.add(gdstk.Label('Y5', (14.7,8.99), layer=36, texttype=10))
dec4to16.add(gdstk.Label('Y6', (21.56,8.99), layer=36, texttype=10))
dec4to16.add(gdstk.Label('Y7', (28.42,8.99), layer=36, texttype=10))
dec4to16.add(gdstk.Label('Y8', (7.84,13.01), layer=36, texttype=10))
dec4to16.add(gdstk.Label('Y9', (14.7,13.01), layer=36, texttype=10))
dec4to16.add(gdstk.Label('A0', (11.97,1.12), layer=46, texttype=10))
dec4to16.add(gdstk.Label('A1', (20.79,2.24), layer=46, texttype=10))
dec4to16.add(gdstk.Label('A2', (13.23,7.84), layer=46, texttype=10))
dec4to16.add(gdstk.Label('A3', (14.42,14), layer=46, texttype=10))

lib.write_gds('dec4to16.gds')
